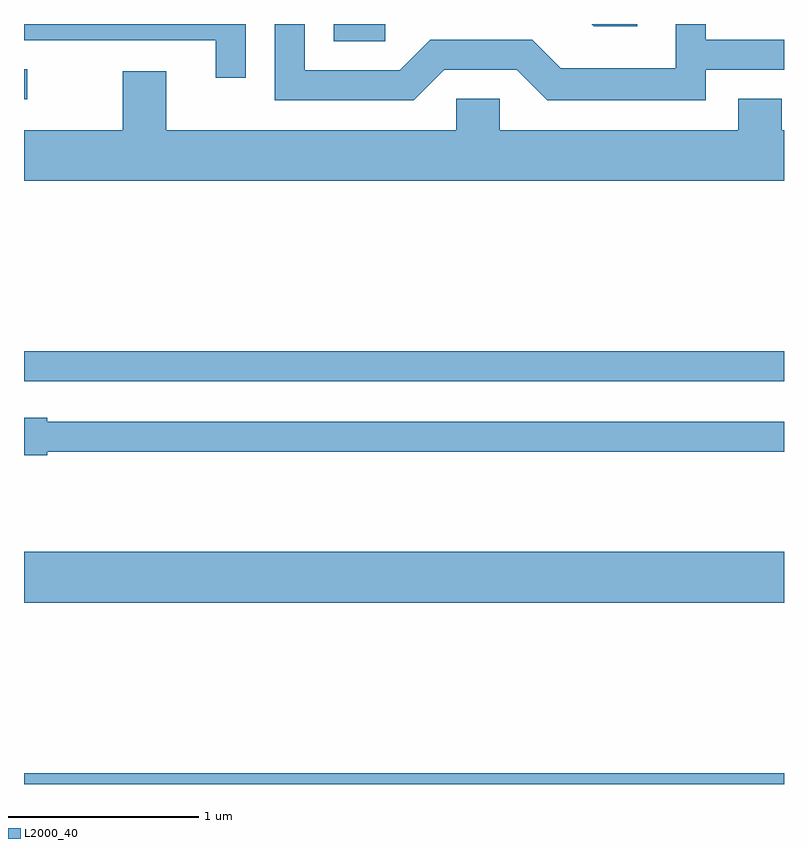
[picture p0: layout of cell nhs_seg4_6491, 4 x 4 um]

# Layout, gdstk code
import gdstk
lib = gdstk.Library(unit=1e-6, precision=1e-09)
def R(c, l, rs):  # rectangles x0, y0, x1, y1
    for r in rs: c.add(gdstk.rectangle(r[:2], r[2:], *l))
def P(c, l, *ps):  # polygons
    for p in ps: c.add(gdstk.Polygon(p, *l))
L2000_40 = (2000, 40)

nhs_seg4_6491 = lib.new_cell('nhs_seg4_6491')
R(nhs_seg4_6491, L2000_40, [(375.611,1315.982,379.611,1316.039), (375.611,1316.936,379.611,1317.204), (375.611,1318.101,379.611,1318.259), (375.611,1319.586,375.628,1319.744), (377.241,1319.891,377.513,1319.982)])
P(nhs_seg4_6491, L2000_40, [(377.822,1319.741),(378.204,1319.741),(378.364,1319.581),(379.199,1319.581),(379.199,1319.741),(379.611,1319.741),(379.611,1319.899),(379.199,1319.899),(379.199,1319.982),(379.041,1319.982),(379.041,1319.749),(378.437,1319.749),(378.287,1319.899),(377.749,1319.899),(377.589,1319.739),(377.089,1319.739),(377.089,1319.982),(376.931,1319.982),(376.931,1319.581),(377.662,1319.581)],
  [(378.838,1319.982),(378.598,1319.982),(378.609,1319.971),(378.838,1319.971)],
  [(376.779,1319.982),(375.611,1319.982),(375.611,1319.896),(376.621,1319.896),(376.621,1319.698),(376.779,1319.698)],
  [(379.611,1319.424),(379.599,1319.424),(379.599,1319.589),(379.371,1319.589),(379.371,1319.424),(378.114,1319.424),(378.114,1319.589),(377.886,1319.589),(377.886,1319.424),(376.359,1319.424),(376.359,1319.734),(376.131,1319.734),(376.131,1319.424),(375.611,1319.424),(375.611,1319.156),(379.611,1319.156)],
  [(375.734,1317.731),(379.611,1317.731),(379.611,1317.889),(375.734,1317.889),(375.734,1317.909),(375.611,1317.909),(375.611,1317.711),(375.734,1317.711)])

lib.write_gds('nhs_seg4_6491.gds')
